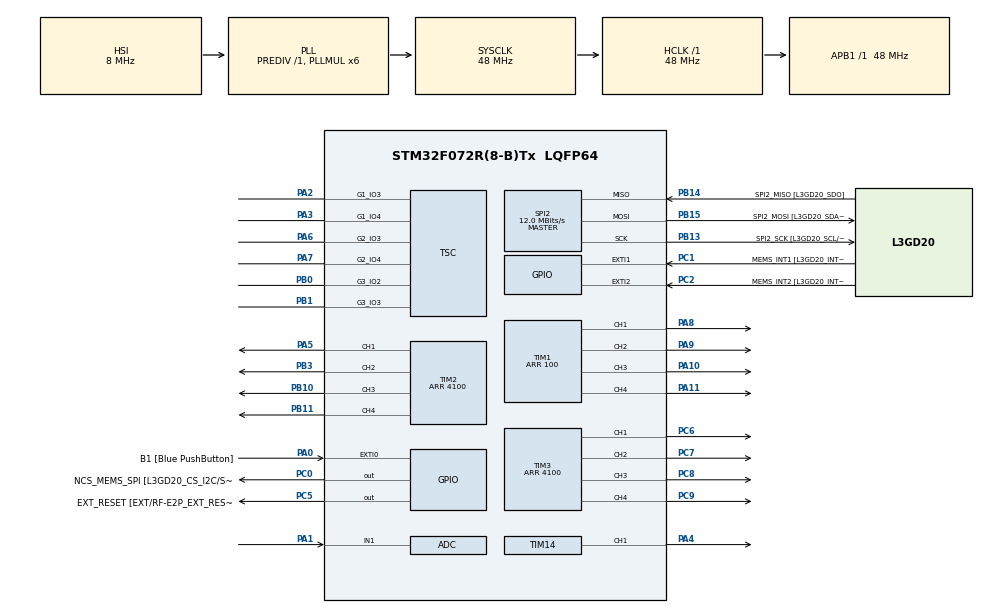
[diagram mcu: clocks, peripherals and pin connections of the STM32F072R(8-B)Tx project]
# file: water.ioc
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ADC.ContinuousConvMode=ENABLE
Dma.Request0=TIM1_CH4/TRIG/COM
Dma.TIM1_CH4/TRIG/COM.0.Direction=DMA_MEMORY_TO_PERIPH
Dma.TIM1_CH4/TRIG/COM.0.Instance=DMA1_Channel4
Dma.TIM1_CH4/TRIG/COM.0.MemDataAlignment=DMA_MDATAALIGN_HALFWORD
Dma.TIM1_CH4/TRIG/COM.0.MemInc=DMA_MINC_ENABLE
Dma.TIM1_CH4/TRIG/COM.0.Mode=DMA_NORMAL
Dma.TIM1_CH4/TRIG/COM.0.PeriphDataAlignment=DMA_PDATAALIGN_HALFWORD
Dma.TIM1_CH4/TRIG/COM.0.PeriphInc=DMA_PINC_DISABLE
Dma.TIM1_CH4/TRIG/COM.0.Priority=DMA_PRIORITY_VERY_HIGH
Mcu.Family=STM32F0
Mcu.Name=STM32F072R(8-B)Tx
Mcu.Package=LQFP64
NVIC.DMA1_Channel4_5_6_7_IRQn=true\:0\:0\:false\:false\:true\:false\:true\:true
PA0.GPIO_Label=B1 [Blue PushButton]
PA0.GPIO_ModeDefaultEXTI=GPIO_MODE_EVT_RISING
PA0.Signal=GPXTI0
PA1.Mode=IN1
PA1.Signal=ADC_IN1
PA10.Signal=S_TIM1_CH3
PA11.Signal=S_TIM1_CH4
PA13.GPIO_Label=SWDIO
PA13.Mode=Serial_Wire
PA13.Signal=SYS_SWDIO
PA14.GPIO_Label=SWCLK
PA14.Mode=Serial_Wire
PA14.Signal=SYS_SWCLK
PA2.Mode=G1_IO3-Channel
PA2.Signal=TSC_G1_IO3
PA3.Mode=G1_IO4-Sampling
PA3.Signal=TSC_G1_IO4
PA4.Signal=S_TIM14_CH1
PA5.Signal=S_TIM2_CH1_ETR
PA6.Mode=G2_IO3-Channel
PA6.Signal=TSC_G2_IO3
PA7.Mode=G2_IO4-Sampling
PA7.Signal=TSC_G2_IO4
PA8.Signal=S_TIM1_CH1
PA9.Signal=S_TIM1_CH2
PB0.Mode=G3_IO2-Channel
PB0.Signal=TSC_G3_IO2
PB1.Mode=G3_IO3-Sampling
PB1.Signal=TSC_G3_IO3
PB10.Signal=S_TIM2_CH3
PB11.Signal=S_TIM2_CH4
PB13.GPIO_Label=SPI2_SCK [L3GD20_SCL/SPC]
PB13.Mode=Full_Duplex_Master
PB13.Signal=SPI2_SCK
PB14.GPIO_Label=SPI2_MISO [L3GD20_SDO]
PB14.Mode=Full_Duplex_Master
PB14.Signal=SPI2_MISO
PB15.GPIO_Label=SPI2_MOSI [L3GD20_SDA/SDI]
PB15.Mode=Full_Duplex_Master
PB15.Signal=SPI2_MOSI
PB3.Signal=S_TIM2_CH2
PC0.GPIO_Label=NCS_MEMS_SPI [L3GD20_CS_I2C/SPI]
PC0.Signal=GPIO_Output
PC1.GPIO_Label=MEMS_INT1 [L3GD20_INT1]
PC1.GPIO_ModeDefaultEXTI=GPIO_MODE_EVT_RISING
PC1.Signal=GPXTI1
PC2.GPIO_Label=MEMS_INT2 [L3GD20_INT2]
PC2.GPIO_ModeDefaultEXTI=GPIO_MODE_EVT_RISING
PC2.Signal=GPXTI2
PC5.GPIO_Label=EXT_RESET [EXT/RF-E2P_EXT_RESET]
PC5.Signal=GPIO_Output
PC6.Signal=S_TIM3_CH1
PC7.Signal=S_TIM3_CH2
PC8.Signal=S_TIM3_CH3
PC9.Signal=S_TIM3_CH4
ProjectManager.HeapSize=0x200
ProjectManager.StackSize=0x400
ProjectManager.TargetToolchain=MDK-ARM V5.32
RCC.AHBFreq_Value=48000000
RCC.APB1Freq_Value=48000000
RCC.APB1TimFreq_Value=48000000
RCC.HCLKFreq_Value=48000000
RCC.PLLMUL=RCC_PLL_MUL6
RCC.SYSCLKFreq_VALUE=48000000
RCC.SYSCLKSource=RCC_SYSCLKSOURCE_PLLCLK
SH.S_TIM14_CH1.0=TIM14_CH1,PWM Generation1 CH1
SH.S_TIM1_CH1.0=TIM1_CH1,PWM Generation1 CH1
SH.S_TIM1_CH2.0=TIM1_CH2,PWM Generation2 CH2
SH.S_TIM1_CH3.0=TIM1_CH3,PWM Generation3 CH3
SH.S_TIM1_CH4.0=TIM1_CH4,PWM Generation4 CH4
SH.S_TIM2_CH1_ETR.0=TIM2_CH1,PWM Generation1 CH1
SH.S_TIM2_CH2.0=TIM2_CH2,PWM Generation2 CH2
SH.S_TIM2_CH3.0=TIM2_CH3,PWM Generation3 CH3
SH.S_TIM2_CH4.0=TIM2_CH4,PWM Generation4 CH4
SH.S_TIM3_CH1.0=TIM3_CH1,PWM Generation1 CH1
SH.S_TIM3_CH2.0=TIM3_CH2,PWM Generation2 CH2
SH.S_TIM3_CH3.0=TIM3_CH3,PWM Generation3 CH3
SH.S_TIM3_CH4.0=TIM3_CH4,PWM Generation4 CH4
SPI2.BaudRatePrescaler=SPI_BAUDRATEPRESCALER_4
SPI2.CalculateBaudRate=12.0 MBits/s
SPI2.Direction=SPI_DIRECTION_2LINES
SPI2.Mode=SPI_MODE_MASTER
SPI2.VirtualType=VM_MASTER
TIM1.Channel-PWM\ Generation1\ CH1=TIM_CHANNEL_1
TIM1.Channel-PWM\ Generation2\ CH2=TIM_CHANNEL_2
TIM1.Channel-PWM\ Generation3\ CH3=TIM_CHANNEL_3
TIM1.Channel-PWM\ Generation4\ CH4=TIM_CHANNEL_4
TIM1.Period=100
TIM14.Channel=TIM_CHANNEL_1
TIM14.Period=4100
TIM2.Channel-PWM\ Generation1\ CH1=TIM_CHANNEL_1
TIM2.Channel-PWM\ Generation2\ CH2=TIM_CHANNEL_2
TIM2.Channel-PWM\ Generation3\ CH3=TIM_CHANNEL_3
TIM2.Channel-PWM\ Generation4\ CH4=TIM_CHANNEL_4
TIM2.Period=4100
TIM3.Channel-PWM\ Generation1\ CH1=TIM_CHANNEL_1
TIM3.Channel-PWM\ Generation2\ CH2=TIM_CHANNEL_2
TIM3.Channel-PWM\ Generation3\ CH3=TIM_CHANNEL_3
TIM3.Channel-PWM\ Generation4\ CH4=TIM_CHANNEL_4
TIM3.Period=4100
VP_TIM14_VS_ClockSourceINT.Mode=Enable_Timer
VP_TIM15_VS_ClockSourceINT.Mode=Internal
VP_TIM1_VS_ClockSourceINT.Mode=Internal
VP_TIM2_VS_ClockSourceINT.Mode=Internal
VP_TIM3_VS_ClockSourceINT.Mode=Internal
board=STM32F072B-DISCO

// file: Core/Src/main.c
/* USER CODE BEGIN Header */
/**
  ******************************************************************************
  * @file           : main.c
  * @brief          : Main program body
  ******************************************************************************
  * @attention
  *
  * Copyright (c) 2023 STMicroelectronics.
  * All rights reserved.
  *
  * This software is licensed under terms that can be found in the LICENSE file
  * in the root directory of this software component.
  * If no LICENSE file comes with this software, it is provided AS-IS.
  *
  ******************************************************************************
  */
/* USER CODE END Header */
#include "main.h"

/* USER CODE BEGIN PD */
#define neopixelZero 34
#define neopizelOne 67

#define numPixels 20
#define DMABuffSize (numPixels*24)+1
/* USER CODE END PD */

/* USER CODE BEGIN PM */
void HAL_TIM_PWM_PulseFinishedCallback(TIM_HandleTypeDef *htim)
{
  HAL_TIM_PWM_Stop_DMA(htim, TIM_CHANNEL_4);
}
/* USER CODE END PM */

ADC_HandleTypeDef hadc;

SPI_HandleTypeDef hspi2;

TIM_HandleTypeDef htim1;
TIM_HandleTypeDef htim2;
TIM_HandleTypeDef htim3;
TIM_HandleTypeDef htim14;
TIM_HandleTypeDef htim15;
DMA_HandleTypeDef hdma_tim1_ch4_trig_com;

TSC_HandleTypeDef htsc;

void SystemClock_Config(void);
static void MX_GPIO_Init(void);
static void MX_DMA_Init(void);
static void MX_SPI2_Init(void);
static void MX_TSC_Init(void);
static void MX_ADC_Init(void);
static void MX_TIM1_Init(void);
static void MX_TIM14_Init(void);
static void MX_TIM2_Init(void);
static void MX_TIM3_Init(void);
static void MX_TIM15_Init(void);

/* USER CODE BEGIN 0 */

typedef union
{
  struct
  {
    uint8_t b;
    uint8_t r;
    uint8_t g;
  } color;
  uint32_t data;
} PixelRGB_t;

typedef union
{
  struct
  {
    uint8_t w;
    uint8_t b;
    uint8_t r;
    uint8_t g;
  } color;
  uint32_t data;
} PixelRGBW_t;
/* USER CODE END 0 */

int main(void)
{
  /* USER CODE BEGIN 1 */
	PixelRGB_t pixel[numPixels] = {0};
  uint32_t dmaBuffer[DMABuffSize] = {0};
  uint32_t *pBuff;
  int i, j, k;
  uint16_t stepSize;
  /* USER CODE END 1 */

  /* MCU Configuration--------------------------------------------------------*/

  /* Reset of all peripherals, Initializes the Flash interface and the Systick. */
  HAL_Init();

  /* Configure the system clock */
  SystemClock_Config();

  /* Initialize all configured peripherals */
  MX_GPIO_Init();
  MX_DMA_Init();
  MX_SPI2_Init();
  MX_TSC_Init();
  MX_ADC_Init();
  MX_TIM1_Init();
  MX_TIM14_Init();
  MX_TIM2_Init();
  MX_TIM3_Init();
  MX_TIM15_Init();
  /* USER CODE BEGIN 2 */

	uint16_t readvalue;

	HAL_ADC_Start(&hadc);

  HAL_TIM_PWM_Start(&htim14,TIM_CHANNEL_1);
	HAL_TIM_PWM_Start(&htim1,TIM_CHANNEL_1);
	HAL_TIM_PWM_Start(&htim1,TIM_CHANNEL_2);
	HAL_TIM_PWM_Start(&htim1,TIM_CHANNEL_3);
	HAL_TIM_PWM_Start(&htim2,TIM_CHANNEL_1);
	HAL_TIM_PWM_Start(&htim2,TIM_CHANNEL_2);
	HAL_TIM_PWM_Start(&htim2,TIM_CHANNEL_3);
	HAL_TIM_PWM_Start(&htim2,TIM_CHANNEL_4);
	HAL_TIM_PWM_Start(&htim3,TIM_CHANNEL_1);
	HAL_TIM_PWM_Start(&htim3,TIM_CHANNEL_2);
	HAL_TIM_PWM_Start(&htim3,TIM_CHANNEL_3);
	HAL_TIM_PWM_Start(&htim3,TIM_CHANNEL_4);
  /* USER CODE END 2 */

  /* Infinite loop */
  /* USER CODE BEGIN WHILE */
	k = 0;
  stepSize = 4;
  while (1)
  {
    /* USER CODE END WHILE */

    /* USER CODE BEGIN 3 */
		HAL_ADC_PollForConversion(&hadc,1000);
    readvalue=HAL_ADC_GetValue(&hadc);
    __HAL_TIM_SetCompare(&htim14, TIM_CHANNEL_1, readvalue);
		__HAL_TIM_SetCompare(&htim1, TIM_CHANNEL_1, readvalue);
		__HAL_TIM_SetCompare(&htim1, TIM_CHANNEL_2, readvalue);
		__HAL_TIM_SetCompare(&htim1, TIM_CHANNEL_3, readvalue);
		__HAL_TIM_SetCompare(&htim2, TIM_CHANNEL_1, readvalue);
		__HAL_TIM_SetCompare(&htim2, TIM_CHANNEL_2, readvalue);
		__HAL_TIM_SetCompare(&htim2, TIM_CHANNEL_3, readvalue);
		__HAL_TIM_SetCompare(&htim2, TIM_CHANNEL_4, readvalue);
		__HAL_TIM_SetCompare(&htim3, TIM_CHANNEL_1, readvalue);
		__HAL_TIM_SetCompare(&htim3, TIM_CHANNEL_2, readvalue);
		__HAL_TIM_SetCompare(&htim3, TIM_CHANNEL_3, readvalue);
		__HAL_TIM_SetCompare(&htim3, TIM_CHANNEL_4, readvalue);

		for (i = (numPixels - 1); i > 0; i--)
    {
      pixel[i].data = pixel[i-1].data;
    }

    if (k < 255)
    {
      pixel[0].color.g = 254 - k; //[254, 0]
      pixel[0].color.r =  k + 1;  //[1, 255]
      pixel[0].color.b = 0;
    }
    else if (k < 510)
    {
      pixel[0].color.g = 0;
      pixel[0].color.r = 509 - k; //[254, 0]
      pixel[0].color.b = k - 254; //[1, 255]
      j++;
    }
    else if (k < 765)
    {
      pixel[0].color.g = k - 509; //[1, 255];
      pixel[0].color.r = 0;
      pixel[0].color.b = 764 - k; //[254, 0]
    }
    k = (k + stepSize) % 765;

    // not so bright
    pixel[0].color.g >>= 2;
    pixel[0].color.r >>= 2;
    pixel[0].color.b >>= 2;

    pBuff = dmaBuffer;
    for (i = 0; i < numPixels; i++)
    {
       for (j = 23; j >= 0; j--)
       {
         if ((pixel[i].data >> j) & 0x01)
         {
           *pBuff = neopizelOne;
         }
         else
         {
           *pBuff = neopixelZero;
         }
         pBuff++;
     }
    }
    dmaBuffer[DMABuffSize - 1] = 0; // last element must be 0!

    HAL_TIM_PWM_Start_DMA(&htim1, TIM_CHANNEL_4, dmaBuffer, DMABuffSize);

    HAL_Delay(10);
  }
  /* USER CODE END 3 */
}

void SystemClock_Config(void)
{
  RCC_OscInitTypeDef RCC_OscInitStruct = {0};
  RCC_ClkInitTypeDef RCC_ClkInitStruct = {0};

  /** Initializes the RCC Oscillators according to the specified parameters
  * in the RCC_OscInitTypeDef structure.
  */
  RCC_OscInitStruct.OscillatorType = RCC_OSCILLATORTYPE_HSI|RCC_OSCILLATORTYPE_HSI14;
  RCC_OscInitStruct.HSIState = RCC_HSI_ON;
  RCC_OscInitStruct.HSI14State = RCC_HSI14_ON;
  RCC_OscInitStruct.HSICalibrationValue = RCC_HSICALIBRATION_DEFAULT;
  RCC_OscInitStruct.HSI14CalibrationValue = 16;
  RCC_OscInitStruct.PLL.PLLState = RCC_PLL_ON;
  RCC_OscInitStruct.PLL.PLLSource = RCC_PLLSOURCE_HSI;
  RCC_OscInitStruct.PLL.PLLMUL = RCC_PLL_MUL6;
  RCC_OscInitStruct.PLL.PREDIV = RCC_PREDIV_DIV1;
  if (HAL_RCC_OscConfig(&RCC_OscInitStruct) != HAL_OK)
  {
    Error_Handler();
  }

  /** Initializes the CPU, AHB and APB buses clocks
  */
  RCC_ClkInitStruct.ClockType = RCC_CLOCKTYPE_HCLK|RCC_CLOCKTYPE_SYSCLK
                              |RCC_CLOCKTYPE_PCLK1;
  RCC_ClkInitStruct.SYSCLKSource = RCC_SYSCLKSOURCE_PLLCLK;
  RCC_ClkInitStruct.AHBCLKDivider = RCC_SYSCLK_DIV1;
  RCC_ClkInitStruct.APB1CLKDivider = RCC_HCLK_DIV1;

  if (HAL_RCC_ClockConfig(&RCC_ClkInitStruct, FLASH_LATENCY_1) != HAL_OK)
  {
    Error_Handler();
  }
}

static void MX_ADC_Init(void)
{

  ADC_ChannelConfTypeDef sConfig = {0};

  /** Configure the global features of the ADC (Clock, Resolution, Data Alignment and number of conversion)
  */
  hadc.Instance = ADC1;
  hadc.Init.ClockPrescaler = ADC_CLOCK_ASYNC_DIV1;
  hadc.Init.Resolution = ADC_RESOLUTION_12B;
  hadc.Init.DataAlign = ADC_DATAALIGN_RIGHT;
  hadc.Init.ScanConvMode = ADC_SCAN_DIRECTION_FORWARD;
  hadc.Init.EOCSelection = ADC_EOC_SINGLE_CONV;
  hadc.Init.LowPowerAutoWait = DISABLE;
  hadc.Init.LowPowerAutoPowerOff = DISABLE;
  hadc.Init.ContinuousConvMode = ENABLE;
  hadc.Init.DiscontinuousConvMode = DISABLE;
  hadc.Init.ExternalTrigConv = ADC_SOFTWARE_START;
  hadc.Init.ExternalTrigConvEdge = ADC_EXTERNALTRIGCONVEDGE_NONE;
  hadc.Init.DMAContinuousRequests = DISABLE;
  hadc.Init.Overrun = ADC_OVR_DATA_PRESERVED;
  if (HAL_ADC_Init(&hadc) != HAL_OK)
  {
    Error_Handler();
  }

  /** Configure for the selected ADC regular channel to be converted.
  */
  sConfig.Channel = ADC_CHANNEL_1;
  sConfig.Rank = ADC_RANK_CHANNEL_NUMBER;
  sConfig.SamplingTime = ADC_SAMPLETIME_1CYCLE_5;
  if (HAL_ADC_ConfigChannel(&hadc, &sConfig) != HAL_OK)
  {
    Error_Handler();
  }

}

static void MX_SPI2_Init(void)
{

  /* SPI2 parameter configuration*/
  hspi2.Instance = SPI2;
  hspi2.Init.Mode = SPI_MODE_MASTER;
  hspi2.Init.Direction = SPI_DIRECTION_2LINES;
  hspi2.Init.DataSize = SPI_DATASIZE_4BIT;
  hspi2.Init.CLKPolarity = SPI_POLARITY_LOW;
  hspi2.Init.CLKPhase = SPI_PHASE_1EDGE;
  hspi2.Init.NSS = SPI_NSS_SOFT;
  hspi2.Init.BaudRatePrescaler = SPI_BAUDRATEPRESCALER_4;
  hspi2.Init.FirstBit = SPI_FIRSTBIT_MSB;
  hspi2.Init.TIMode = SPI_TIMODE_DISABLE;
  hspi2.Init.CRCCalculation = SPI_CRCCALCULATION_DISABLE;
  hspi2.Init.CRCPolynomial = 7;
  hspi2.Init.CRCLength = SPI_CRC_LENGTH_DATASIZE;
  hspi2.Init.NSSPMode = SPI_NSS_PULSE_ENABLE;
  if (HAL_SPI_Init(&hspi2) != HAL_OK)
  {
    Error_Handler();
  }

}

static void MX_TIM1_Init(void)
{

  TIM_ClockConfigTypeDef sClockSourceConfig = {0};
  TIM_MasterConfigTypeDef sMasterConfig = {0};
  TIM_OC_InitTypeDef sConfigOC = {0};
  TIM_BreakDeadTimeConfigTypeDef sBreakDeadTimeConfig = {0};

  htim1.Instance = TIM1;
  htim1.Init.Prescaler = 0;
  htim1.Init.CounterMode = TIM_COUNTERMODE_UP;
  htim1.Init.Period = 100;
  htim1.Init.ClockDivision = TIM_CLOCKDIVISION_DIV1;
  htim1.Init.RepetitionCounter = 0;
  htim1.Init.AutoReloadPreload = TIM_AUTORELOAD_PRELOAD_DISABLE;
  if (HAL_TIM_Base_Init(&htim1) != HAL_OK)
  {
    Error_Handler();
  }
  sClockSourceConfig.ClockSource = TIM_CLOCKSOURCE_INTERNAL;
  if (HAL_TIM_ConfigClockSource(&htim1, &sClockSourceConfig) != HAL_OK)
  {
    Error_Handler();
  }
  if (HAL_TIM_PWM_Init(&htim1) != HAL_OK)
  {
    Error_Handler();
  }
  sMasterConfig.MasterOutputTrigger = TIM_TRGO_RESET;
  sMasterConfig.MasterSlaveMode = TIM_MASTERSLAVEMODE_DISABLE;
  if (HAL_TIMEx_MasterConfigSynchronization(&htim1, &sMasterConfig) != HAL_OK)
  {
    Error_Handler();
  }
  sConfigOC.OCMode = TIM_OCMODE_PWM1;
  sConfigOC.Pulse = 0;
  sConfigOC.OCPolarity = TIM_OCPOLARITY_HIGH;
  sConfigOC.OCNPolarity = TIM_OCNPOLARITY_HIGH;
  sConfigOC.OCFastMode = TIM_OCFAST_DISABLE;
  sConfigOC.OCIdleState = TIM_OCIDLESTATE_RESET;
  sConfigOC.OCNIdleState = TIM_OCNIDLESTATE_RESET;
  if (HAL_TIM_PWM_ConfigChannel(&htim1, &sConfigOC, TIM_CHANNEL_1) != HAL_OK)
  {
    Error_Handler();
  }
  if (HAL_TIM_PWM_ConfigChannel(&htim1, &sConfigOC, TIM_CHANNEL_2) != HAL_OK)
  {
    Error_Handler();
  }
  if (HAL_TIM_PWM_ConfigChannel(&htim1, &sConfigOC, TIM_CHANNEL_3) != HAL_OK)
  {
    Error_Handler();
  }
  if (HAL_TIM_PWM_ConfigChannel(&htim1, &sConfigOC, TIM_CHANNEL_4) != HAL_OK)
  {
    Error_Handler();
  }
  sBreakDeadTimeConfig.OffStateRunMode = TIM_OSSR_DISABLE;
  sBreakDeadTimeConfig.OffStateIDLEMode = TIM_OSSI_DISABLE;
  sBreakDeadTimeConfig.LockLevel = TIM_LOCKLEVEL_OFF;
  sBreakDeadTimeConfig.DeadTime = 0;
  sBreakDeadTimeConfig.BreakState = TIM_BREAK_DISABLE;
  sBreakDeadTimeConfig.BreakPolarity = TIM_BREAKPOLARITY_HIGH;
  sBreakDeadTimeConfig.AutomaticOutput = TIM_AUTOMATICOUTPUT_DISABLE;
  if (HAL_TIMEx_ConfigBreakDeadTime(&htim1, &sBreakDeadTimeConfig) != HAL_OK)
  {
    Error_Handler();
  }
  HAL_TIM_MspPostInit(&htim1);

}

static void MX_TIM2_Init(void)
{

  TIM_ClockConfigTypeDef sClockSourceConfig = {0};
  TIM_MasterConfigTypeDef sMasterConfig = {0};
  TIM_OC_InitTypeDef sConfigOC = {0};

  htim2.Instance = TIM2;
  htim2.Init.Prescaler = 0;
  htim2.Init.CounterMode = TIM_COUNTERMODE_UP;
  htim2.Init.Period = 4100;
  htim2.Init.ClockDivision = TIM_CLOCKDIVISION_DIV1;
  htim2.Init.AutoReloadPreload = TIM_AUTORELOAD_PRELOAD_DISABLE;
  if (HAL_TIM_Base_Init(&htim2) != HAL_OK)
  {
    Error_Handler();
  }
  sClockSourceConfig.ClockSource = TIM_CLOCKSOURCE_INTERNAL;
  if (HAL_TIM_ConfigClockSource(&htim2, &sClockSourceConfig) != HAL_OK)
  {
    Error_Handler();
  }
  if (HAL_TIM_PWM_Init(&htim2) != HAL_OK)
  {
    Error_Handler();
  }
  sMasterConfig.MasterOutputTrigger = TIM_TRGO_RESET;
  sMasterConfig.MasterSlaveMode = TIM_MASTERSLAVEMODE_DISABLE;
  if (HAL_TIMEx_MasterConfigSynchronization(&htim2, &sMasterConfig) != HAL_OK)
  {
    Error_Handler();
  }
  sConfigOC.OCMode = TIM_OCMODE_PWM1;
  sConfigOC.Pulse = 0;
  sConfigOC.OCPolarity = TIM_OCPOLARITY_HIGH;
  sConfigOC.OCFastMode = TIM_OCFAST_DISABLE;
  if (HAL_TIM_PWM_ConfigChannel(&htim2, &sConfigOC, TIM_CHANNEL_1) != HAL_OK)
  {
    Error_Handler();
  }
  if (HAL_TIM_PWM_ConfigChannel(&htim2, &sConfigOC, TIM_CHANNEL_2) != HAL_OK)
  {
    Error_Handler();
  }
  if (HAL_TIM_PWM_ConfigChannel(&htim2, &sConfigOC, TIM_CHANNEL_3) != HAL_OK)
  {
    Error_Handler();
  }
  if (HAL_TIM_PWM_ConfigChannel(&htim2, &sConfigOC, TIM_CHANNEL_4) != HAL_OK)
  {
    Error_Handler();
  }
  HAL_TIM_MspPostInit(&htim2);

}

static void MX_TIM3_Init(void)
{

  TIM_ClockConfigTypeDef sClockSourceConfig = {0};
  TIM_MasterConfigTypeDef sMasterConfig = {0};
  TIM_OC_InitTypeDef sConfigOC = {0};

  htim3.Instance = TIM3;
  htim3.Init.Prescaler = 0;
  htim3.Init.CounterMode = TIM_COUNTERMODE_UP;
  htim3.Init.Period = 4100;
  htim3.Init.ClockDivision = TIM_CLOCKDIVISION_DIV1;
  htim3.Init.AutoReloadPreload = TIM_AUTORELOAD_PRELOAD_DISABLE;
  if (HAL_TIM_Base_Init(&htim3) != HAL_OK)
  {
    Error_Handler();
  }
  sClockSourceConfig.ClockSource = TIM_CLOCKSOURCE_INTERNAL;
  if (HAL_TIM_ConfigClockSource(&htim3, &sClockSourceConfig) != HAL_OK)
  {
    Error_Handler();
  }
  if (HAL_TIM_PWM_Init(&htim3) != HAL_OK)
  {
    Error_Handler();
  }
  sMasterConfig.MasterOutputTrigger = TIM_TRGO_RESET;
  sMasterConfig.MasterSlaveMode = TIM_MASTERSLAVEMODE_DISABLE;
  if (HAL_TIMEx_MasterConfigSynchronization(&htim3, &sMasterConfig) != HAL_OK)
  {
    Error_Handler();
  }
  sConfigOC.OCMode = TIM_OCMODE_PWM1;
  sConfigOC.Pulse = 0;
  sConfigOC.OCPolarity = TIM_OCPOLARITY_HIGH;
  sConfigOC.OCFastMode = TIM_OCFAST_DISABLE;
  if (HAL_TIM_PWM_ConfigChannel(&htim3, &sConfigOC, TIM_CHANNEL_1) != HAL_OK)
  {
    Error_Handler();
  }
  if (HAL_TIM_PWM_ConfigChannel(&htim3, &sConfigOC, TIM_CHANNEL_2) != HAL_OK)
  {
    Error_Handler();
  }
  if (HAL_TIM_PWM_ConfigChannel(&htim3, &sConfigOC, TIM_CHANNEL_3) != HAL_OK)
  {
    Error_Handler();
  }
  if (HAL_TIM_PWM_ConfigChannel(&htim3, &sConfigOC, TIM_CHANNEL_4) != HAL_OK)
  {
    Error_Handler();
  }
  HAL_TIM_MspPostInit(&htim3);

}

static void MX_TIM14_Init(void)
{

  TIM_OC_InitTypeDef sConfigOC = {0};

  htim14.Instance = TIM14;
  htim14.Init.Prescaler = 0;
  htim14.Init.CounterMode = TIM_COUNTERMODE_UP;
  htim14.Init.Period = 4100;
  htim14.Init.ClockDivision = TIM_CLOCKDIVISION_DIV1;
  htim14.Init.AutoReloadPreload = TIM_AUTORELOAD_PRELOAD_DISABLE;
  if (HAL_TIM_Base_Init(&htim14) != HAL_OK)
  {
    Error_Handler();
  }
  if (HAL_TIM_PWM_Init(&htim14) != HAL_OK)
  {
    Error_Handler();
  }
  sConfigOC.OCMode = TIM_OCMODE_PWM1;
  sConfigOC.Pulse = 0;
  sConfigOC.OCPolarity = TIM_OCPOLARITY_HIGH;
  sConfigOC.OCFastMode = TIM_OCFAST_DISABLE;
  if (HAL_TIM_PWM_ConfigChannel(&htim14, &sConfigOC, TIM_CHANNEL_1) != HAL_OK)
  {
    Error_Handler();
  }
  HAL_TIM_MspPostInit(&htim14);

}

static void MX_TIM15_Init(void)
{

  TIM_ClockConfigTypeDef sClockSourceConfig = {0};
  TIM_MasterConfigTypeDef sMasterConfig = {0};

  htim15.Instance = TIM15;
  htim15.Init.Prescaler = 0;
  htim15.Init.CounterMode = TIM_COUNTERMODE_UP;
  htim15.Init.Period = 65535;
  htim15.Init.ClockDivision = TIM_CLOCKDIVISION_DIV1;
  htim15.Init.RepetitionCounter = 0;
  htim15.Init.AutoReloadPreload = TIM_AUTORELOAD_PRELOAD_DISABLE;
  if (HAL_TIM_Base_Init(&htim15) != HAL_OK)
  {
    Error_Handler();
  }
  sClockSourceConfig.ClockSource = TIM_CLOCKSOURCE_INTERNAL;
  if (HAL_TIM_ConfigClockSource(&htim15, &sClockSourceConfig) != HAL_OK)
  {
    Error_Handler();
  }
  sMasterConfig.MasterOutputTrigger = TIM_TRGO_RESET;
  sMasterConfig.MasterSlaveMode = TIM_MASTERSLAVEMODE_DISABLE;
  if (HAL_TIMEx_MasterConfigSynchronization(&htim15, &sMasterConfig) != HAL_OK)
  {
    Error_Handler();
  }

}

static void MX_TSC_Init(void)
{

  /** Configure the TSC peripheral
  */
  htsc.Instance = TSC;
  htsc.Init.CTPulseHighLength = TSC_CTPH_2CYCLES;
  htsc.Init.CTPulseLowLength = TSC_CTPL_2CYCLES;
  htsc.Init.SpreadSpectrum = DISABLE;
  htsc.Init.SpreadSpectrumDeviation = 1;
  htsc.Init.SpreadSpectrumPrescaler = TSC_SS_PRESC_DIV1;
  htsc.Init.PulseGeneratorPrescaler = TSC_PG_PRESC_DIV4;
  htsc.Init.MaxCountValue = TSC_MCV_8191;
  htsc.Init.IODefaultMode = TSC_IODEF_OUT_PP_LOW;
  htsc.Init.SynchroPinPolarity = TSC_SYNC_POLARITY_FALLING;
  htsc.Init.AcquisitionMode = TSC_ACQ_MODE_NORMAL;
  htsc.Init.MaxCountInterrupt = DISABLE;
  htsc.Init.ChannelIOs = TSC_GROUP1_IO3|TSC_GROUP2_IO3|TSC_GROUP3_IO2;
  htsc.Init.ShieldIOs = 0;
  htsc.Init.SamplingIOs = TSC_GROUP1_IO4|TSC_GROUP2_IO4|TSC_GROUP3_IO3;
  if (HAL_TSC_Init(&htsc) != HAL_OK)
  {
    Error_Handler();
  }

}

static void MX_DMA_Init(void)
{

  /* DMA controller clock enable */
  __HAL_RCC_DMA1_CLK_ENABLE();

  /* DMA interrupt init */
  /* DMA1_Channel4_5_6_7_IRQn interrupt configuration */
  HAL_NVIC_SetPriority(DMA1_Channel4_5_6_7_IRQn, 0, 0);
  HAL_NVIC_EnableIRQ(DMA1_Channel4_5_6_7_IRQn);

}

static void MX_GPIO_Init(void)
{
  GPIO_InitTypeDef GPIO_InitStruct = {0};

  /* GPIO Ports Clock Enable */
  __HAL_RCC_GPIOC_CLK_ENABLE();
  __HAL_RCC_GPIOA_CLK_ENABLE();
  __HAL_RCC_GPIOB_CLK_ENABLE();

  /*Configure GPIO pin Output Level */
  HAL_GPIO_WritePin(GPIOC, NCS_MEMS_SPI_Pin|EXT_RESET_Pin, GPIO_PIN_RESET);

  /*Configure GPIO pins : NCS_MEMS_SPI_Pin EXT_RESET_Pin */
  GPIO_InitStruct.Pin = NCS_MEMS_SPI_Pin|EXT_RESET_Pin;
  GPIO_InitStruct.Mode = GPIO_MODE_OUTPUT_PP;
  GPIO_InitStruct.Pull = GPIO_NOPULL;
  GPIO_InitStruct.Speed = GPIO_SPEED_FREQ_LOW;
  HAL_GPIO_Init(GPIOC, &GPIO_InitStruct);

  /*Configure GPIO pins : MEMS_INT1_Pin MEMS_INT2_Pin */
  GPIO_InitStruct.Pin = MEMS_INT1_Pin|MEMS_INT2_Pin;
  GPIO_InitStruct.Mode = GPIO_MODE_EVT_RISING;
  GPIO_InitStruct.Pull = GPIO_NOPULL;
  HAL_GPIO_Init(GPIOC, &GPIO_InitStruct);

  /*Configure GPIO pin : B1_Pin */
  GPIO_InitStruct.Pin = B1_Pin;
  GPIO_InitStruct.Mode = GPIO_MODE_EVT_RISING;
  GPIO_InitStruct.Pull = GPIO_NOPULL;
  HAL_GPIO_Init(B1_GPIO_Port, &GPIO_InitStruct);

}

void Error_Handler(void)
{
  __disable_irq();
  while (1)
  {
  }
}
